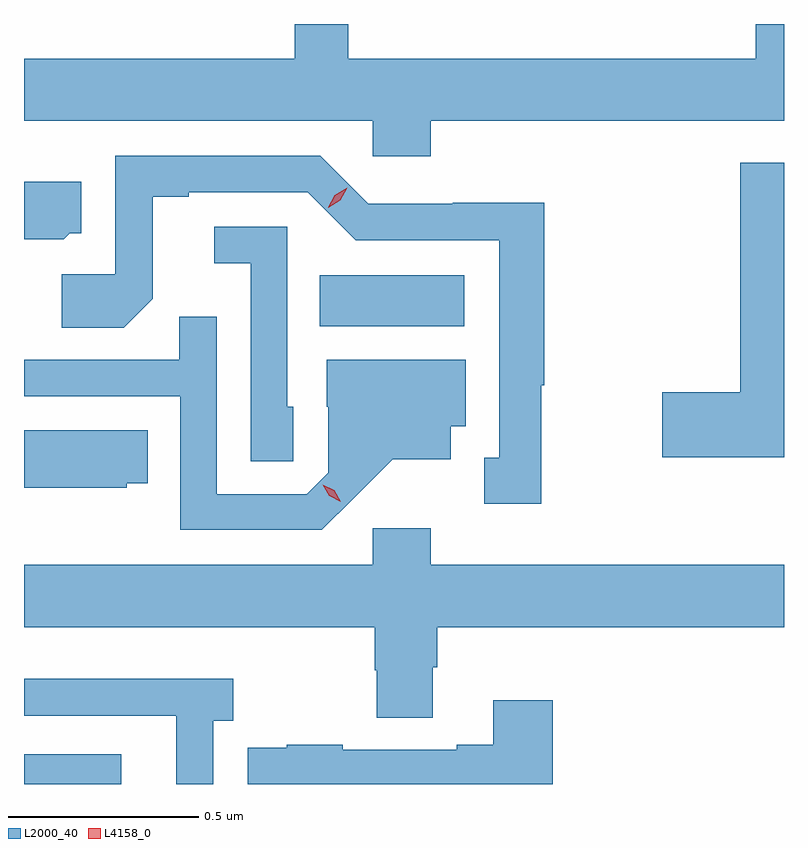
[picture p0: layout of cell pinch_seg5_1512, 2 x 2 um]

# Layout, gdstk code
import gdstk
lib = gdstk.Library(unit=1e-6, precision=1e-09)
def R(c, l, rs):  # rectangles x0, y0, x1, y1
    for r in rs: c.add(gdstk.rectangle(r[:2], r[2:], *l))
def P(c, l, *ps):  # polygons
    for p in ps: c.add(gdstk.Polygon(p, *l))
L2000_40 = (2000, 40)
L4158_0 = (4158, 0)

pinch_seg5_1512 = lib.new_cell('pinch_seg5_1512')
R(pinch_seg5_1512, L2000_40, [(136.146,892.311,136.402,892.389), (136.924,893.516,137.305,893.65)])
P(pinch_seg5_1512, L2000_40, [(137.216,894.056),(138.146,894.056),(138.146,894.311),(138.072,894.311),(138.072,894.22),(136.999,894.22),(136.999,894.311),(136.859,894.311),(136.859,894.22),(136.146,894.22),(136.146,894.056),(137.064,894.056),(137.064,893.963),(137.216,893.963)],
  [(137.507,893.361),(137.515,893.361),(137.515,893.84),(137.274,893.84),(137.274,893.838),(137.052,893.838),(136.926,893.964),(136.386,893.964),(136.386,893.652),(136.245,893.652),(136.245,893.512),(136.409,893.512),(136.485,893.588),(136.485,893.856),(136.579,893.856),(136.579,893.868),(136.893,893.868),(137.019,893.742),(137.396,893.742),(137.396,893.169),(137.357,893.169),(137.357,893.049),(137.507,893.049)],
  [(138.146,893.946),(138.031,893.946),(138.031,893.342),(137.826,893.342),(137.826,893.171),(138.146,893.171)],
  [(136.266,893.76),(136.297,893.76),(136.297,893.896),(136.146,893.896),(136.146,893.744),(136.25,893.744)],
  [(136.854,893.304),(136.839,893.304),(136.839,893.778),(136.647,893.778),(136.647,893.681),(136.743,893.681),(136.743,893.161),(136.854,893.161)],
  [(137.014,893.063),(137.117,893.165),(137.269,893.165),(137.269,893.252),(137.308,893.252),(137.308,893.428),(136.943,893.428),(136.943,893.304),(136.947,893.304),(136.947,893.13),(136.89,893.073),(136.653,893.073),(136.653,893.54),(136.555,893.54),(136.555,893.427),(136.146,893.427),(136.146,893.331),(136.557,893.331),(136.557,892.98),(136.93,892.98)],
  [(136.416,893.102),(136.472,893.102),(136.472,893.242),(136.146,893.242),(136.146,893.09),(136.416,893.09)],
  [(137.221,892.618),(137.234,892.618),(137.234,892.724),(138.146,892.724),(138.146,892.888),(137.216,892.888),(137.216,892.984),(137.064,892.984),(137.064,892.888),(136.146,892.888),(136.146,892.724),(137.069,892.724),(137.069,892.611),(137.074,892.611),(137.074,892.486),(137.221,892.486)],
  [(136.644,892.478),(136.696,892.478),(136.696,892.588),(136.146,892.588),(136.146,892.491),(136.547,892.491),(136.547,892.311),(136.644,892.311)],
  [(137.537,892.531),(137.381,892.531),(137.381,892.414),(137.285,892.414),(137.285,892.401),(136.985,892.401),(136.985,892.414),(136.837,892.414),(136.837,892.407),(136.735,892.407),(136.735,892.311),(137.537,892.311)])
P(pinch_seg5_1512, L4158_0, [(136.946,893.828),(136.946,893.829),(136.964,893.861),(136.996,893.88),(136.996,893.88),(136.996,893.88),(136.978,893.847),(136.946,893.828)],
  [(136.98,893.054),(136.949,893.069),(136.932,893.098),(136.932,893.098),(136.932,893.098),(136.963,893.084),(136.98,893.054),(136.98,893.054)])

lib.write_gds('pinch_seg5_1512.gds')
